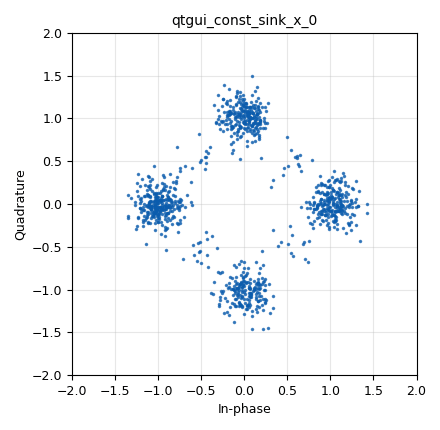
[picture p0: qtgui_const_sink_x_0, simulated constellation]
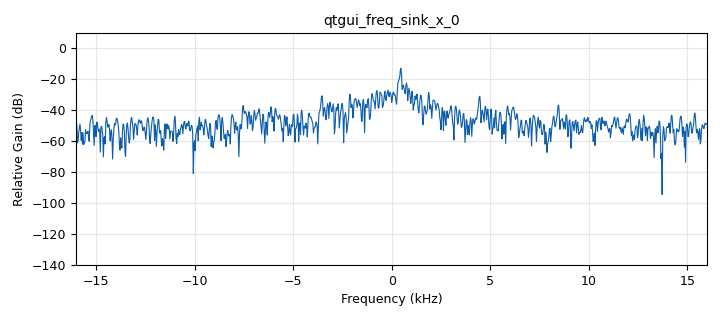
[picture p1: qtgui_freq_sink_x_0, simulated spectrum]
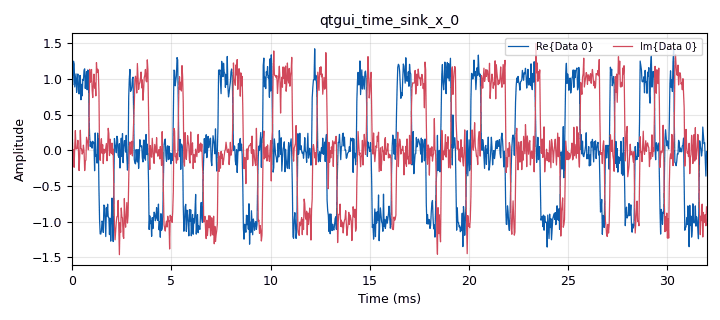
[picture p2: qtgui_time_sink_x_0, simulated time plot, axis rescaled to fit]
options:
  parameters:
    author: Studente
    generate_options: qt_gui
    id: parta
    output_language: python
    title: Not titled yet
  states: {}

blocks:
- name: samp_rate
  id: variable
  parameters:
    value: '32000'
  states: {}
- name: analog_noise_source_x_0
  id: analog_noise_source_x
  parameters:
    amp: '0.2'
    noise_type: analog.GR_GAUSSIAN
    seed: '0'
    type: complex
  states: {}
- name: analog_random_source_x_0
  id: analog_random_source_x
  parameters:
    max: '2'
    min: '0'
    num_samps: '100000'
    repeat: 'True'
    type: byte
  states: {}
- name: blocks_add_xx_0
  id: blocks_add_xx
  parameters:
    type: complex
  states: {}
- name: blocks_multiply_const_vxx_0
  id: blocks_multiply_const_vxx
  parameters:
    const: '1'
    type: complex
  states: {}
- name: blocks_throttle2_0
  id: blocks_throttle2
  parameters:
    samples_per_second: samp_rate
    type: byte
  states: {}
- name: digital_psk_mod_0
  id: digital_psk_mod
  parameters:
    constellation_points: '4'
    differential: 'True'
    excess_bw: '0.35'
    mod_code: '"gray"'
    samples_per_symbol: '2'
  states: {}
- name: qtgui_const_sink_x_0
  id: qtgui_const_sink_x
  parameters:
    size: '1024'
    type: complex
  states: {}
- name: qtgui_freq_sink_x_0
  id: qtgui_freq_sink_x
  parameters:
    bw: samp_rate
    fc: '0'
    fftsize: '1024'
    type: complex
  states: {}
- name: qtgui_time_sink_x_0
  id: qtgui_time_sink_x
  parameters:
    size: '1024'
    srate: samp_rate
    type: complex
  states: {}

connections:
- [analog_noise_source_x_0, '0', blocks_add_xx_0, '1']
- [analog_random_source_x_0, '0', blocks_throttle2_0, '0']
- [blocks_add_xx_0, '0', qtgui_const_sink_x_0, '0']
- [blocks_add_xx_0, '0', qtgui_freq_sink_x_0, '0']
- [blocks_add_xx_0, '0', qtgui_time_sink_x_0, '0']
- [blocks_multiply_const_vxx_0, '0', blocks_add_xx_0, '0']
- [blocks_throttle2_0, '0', digital_psk_mod_0, '0']
- [digital_psk_mod_0, '0', blocks_multiply_const_vxx_0, '0']

metadata:
  file_format: 1
  grc_version: 3.10.7.0
